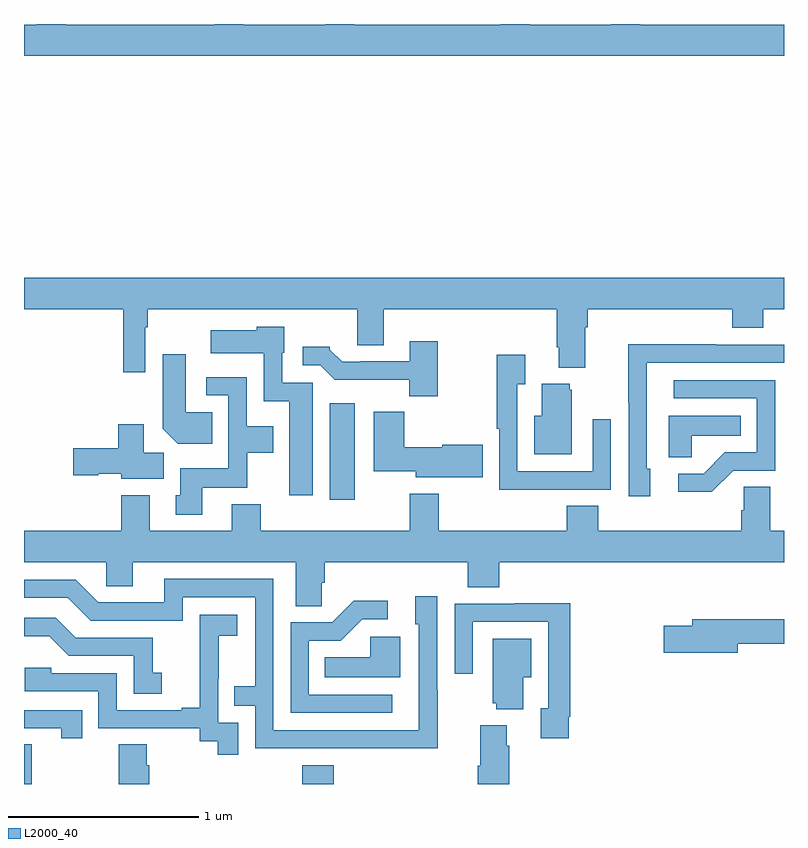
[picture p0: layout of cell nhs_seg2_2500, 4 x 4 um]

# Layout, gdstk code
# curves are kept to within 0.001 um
import gdstk
lib = gdstk.Library(unit=1e-6, precision=1e-09)
def R(c, l, rs):  # rectangles x0, y0, x1, y1
    for r in rs: c.add(gdstk.rectangle(r[:2], r[2:], *l))
def P(c, l, *ps):  # polygons
    for p in ps: c.add(gdstk.Polygon(p, *l))
L2000_40 = (2000, 40)

nhs_seg2_2500 = lib.new_cell('nhs_seg2_2500')
R(nhs_seg2_2500, L2000_40, [(241,647.8,241.041,648.008), (242.465,647.8,242.63,647.899), (242.609,649.296,242.74,649.804)])
P(nhs_seg2_2500, L2000_40, [(245,651.796),(244.244,651.796),(244.244,651.8),(244.091,651.8),(244.091,651.796),(243.661,651.796),(243.661,651.8),(243.509,651.8),(243.509,651.796),(242.738,651.796),(242.738,651.8),(242.585,651.8),(242.585,651.796),(242.155,651.796),(242.155,651.8),(242.003,651.8),(242.003,651.796),(241.219,651.796),(241.219,651.8),(241.067,651.8),(241.067,651.796),(241,651.796),(241,651.632),(245,651.632)],
  [(241.638,650.204),(241.651,650.204),(241.651,650.3),(242.753,650.3),(242.753,650.11),(242.893,650.11),(242.893,650.3),(243.803,650.3),(243.803,650.098),(243.815,650.098),(243.815,649.991),(243.955,649.991),(243.955,650.204),(243.968,650.204),(243.968,650.3),(244.727,650.3),(244.727,650.201),(244.892,650.201),(244.892,650.3),(245,650.3),(245,650.464),(241,650.464),(241,650.3),(241.522,650.3),(241.522,649.968),(241.638,649.968)],
  [(242.521,649.911),(242.358,649.911),(242.358,650.07),(242.371,650.07),(242.371,650.206),(242.226,650.206),(242.226,650.188),(241.983,650.188),(241.983,650.066),(242.262,650.066),(242.262,649.814),(242.396,649.814),(242.396,649.32),(242.521,649.32)],
  [(243.177,650.131),(243.029,650.131),(243.029,650.025),(242.773,650.025),(242.773,650.022),(242.674,650.022),(242.61,650.086),(242.61,650.101),(242.466,650.101),(242.466,650.004),(242.559,650.004),(242.635,649.928),(243.027,649.928),(243.027,649.841),(243.177,649.841)],
  [(244.297,649.458),(244.278,649.458),(244.278,650.016),(245,650.016),(245,650.112),(244.643,650.112),(244.643,650.114),(244.18,650.114),(244.18,649.807),(244.182,649.807),(244.182,649.314),(244.297,649.314)],
  [(241.991,649.756),(241.852,649.756),(241.852,650.062),(241.73,650.062),(241.73,649.67),(241.808,649.592),(241.991,649.592)],
  [(243.773,649.35),(244.089,649.35),(244.089,649.72),(243.993,649.72),(243.993,649.446),(243.597,649.446),(243.597,649.903),(243.637,649.903),(243.637,650.059),(243.489,650.059),(243.489,649.669),(243.501,649.669),(243.501,649.349),(243.773,649.349)],
  [(241.939,649.358),(242.175,649.358),(242.175,649.544),(242.311,649.544),(242.311,649.684),(242.172,649.684),(242.172,649.941),(241.959,649.941),(241.959,649.845),(242.076,649.845),(242.076,649.462),(241.823,649.462),(241.823,649.32),(241.799,649.32),(241.799,649.218),(241.939,649.218)],
  [(244.734,649.449),(244.953,649.449),(244.953,649.926),(244.419,649.926),(244.419,649.83),(244.857,649.83),(244.857,649.545),(244.688,649.545),(244.577,649.434),(244.443,649.434),(244.443,649.337),(244.621,649.337)],
  [(243.883,649.875),(243.872,649.875),(243.872,649.906),(243.725,649.906),(243.725,649.738),(243.686,649.738),(243.686,649.535),(243.883,649.535)],
  [(243.415,649.586),(243.201,649.586),(243.201,649.573),(243.002,649.573),(243.002,649.759),(242.84,649.759),(242.84,649.445),(243.062,649.445),(243.062,649.415),(243.415,649.415)],
  [(244.515,649.634),(244.772,649.634),(244.772,649.738),(244.394,649.738),(244.394,649.519),(244.515,649.519)],
  [(241.735,649.544),(241.63,649.544),(241.63,649.693),(241.496,649.693),(241.496,649.568),(241.26,649.568),(241.26,649.426),(241.392,649.426),(241.392,649.433),(241.512,649.433),(241.512,649.406),(241.735,649.406)],
  [(241.511,649.321),(241.511,649.132),(241,649.132),(241,648.968),(241.434,648.968),(241.434,648.841),(241.573,648.841),(241.573,648.968),(242.429,648.968),(242.429,648.736),(242.568,648.736),(242.568,648.859),(242.582,648.859),(242.582,648.968),(243.335,648.968),(243.335,648.835),(243.5,648.835),(243.5,648.968),(245,648.968),(245,649.132),(244.927,649.132),(244.927,649.364),(244.788,649.364),(244.788,649.241),(244.775,649.241),(244.775,649.132),(244.022,649.132),(244.022,649.265),(243.857,649.265),(243.857,649.132),(243.182,649.132),(243.182,649.327),(243.029,649.327),(243.029,649.132),(242.246,649.132),(242.246,649.273),(242.093,649.273),(242.093,649.132),(241.663,649.132),(241.663,649.321)],
  [(243.177,648.293),(243.174,648.293),(243.174,648.787),(243.059,648.787),(243.059,648.642),(243.078,648.642),(243.077,648.084),(242.313,648.084),(242.313,648.879),(241.739,648.879),(241.739,648.756),(241.392,648.756),(241.272,648.876),(241,648.876),(241,648.78),(241.23,648.78),(241.35,648.66),(241.836,648.66),(241.836,648.783),(242.217,648.783),(242.217,648.314),(242.107,648.314),(242.107,648.213),(242.217,648.213),(242.217,647.988),(243.177,647.987)],
  [(242.938,648.27),(242.499,648.27),(242.499,648.555),(242.668,648.555),(242.779,648.666),(242.914,648.666),(242.914,648.764),(242.735,648.764),(242.622,648.651),(242.403,648.651),(242.403,648.174),(242.938,648.174)],
  [(243.868,648.154),(243.875,648.154),(243.875,648.752),(243.583,648.752),(243.583,648.75),(243.267,648.75),(243.267,648.381),(243.363,648.381),(243.363,648.654),(243.759,648.654),(243.759,648.198),(243.719,648.198),(243.719,648.042),(243.868,648.042)],
  [(242.127,648.123),(242.022,648.123),(242.022,648.353),(242.024,648.353),(242.024,648.581),(242.122,648.581),(242.122,648.691),(241.924,648.691),(241.924,648.485),(241.925,648.485),(241.925,648.202),(241.829,648.202),(241.829,648.189),(241.488,648.189),(241.488,648.384),(241.143,648.384),(241.143,648.411),(241.003,648.411),(241.003,648.288),(241.392,648.288),(241.392,648.093),(241.926,648.093),(241.926,648.025),(242.019,648.025),(242.019,647.955),(242.127,647.955)],
  [(241.726,648.385),(241.677,648.385),(241.677,648.57),(241.273,648.57),(241.168,648.675),(241,648.675),(241,648.578),(241.132,648.578),(241.236,648.474),(241.578,648.474),(241.578,648.276),(241.726,648.276)],
  [(244.756,648.538),(245,648.538),(245,648.667),(244.517,648.667),(244.517,648.633),(244.368,648.633),(244.368,648.491),(244.756,648.491)],
  [(242.98,648.574),(242.823,648.574),(242.823,648.466),(242.584,648.466),(242.584,648.362),(242.98,648.362)],
  [(243.628,648.362),(243.67,648.362),(243.67,648.565),(243.467,648.565),(243.467,648.225),(243.485,648.225),(243.485,648.194),(243.628,648.194)],
  [(241.307,648.189),(241,648.189),(241,648.093),(241.196,648.093),(241.196,648.042),(241.307,648.042)],
  [(243.554,648.002),(243.541,648.002),(243.541,648.109),(243.401,648.109),(243.401,647.896),(243.389,647.896),(243.389,647.8),(243.554,647.8)],
  [(241.658,647.898),(241.645,647.898),(241.645,648.008),(241.498,648.008),(241.498,647.8),(241.658,647.8)])

lib.write_gds('nhs_seg2_2500.gds')
